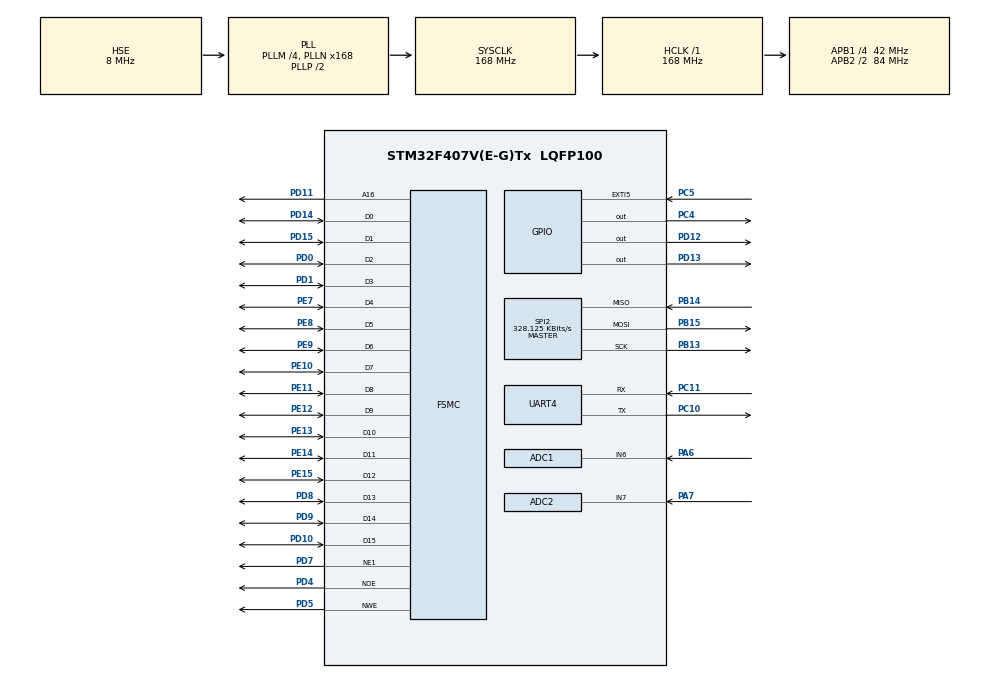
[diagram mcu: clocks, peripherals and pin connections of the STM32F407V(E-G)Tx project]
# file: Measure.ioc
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ADC1.Channel-0\#ChannelRegularConversion=ADC_CHANNEL_6
ADC1.ClockPrescaler=ADC_CLOCK_SYNC_PCLK_DIV4
ADC1.ContinuousConvMode=ENABLE
ADC1.DMAContinuousRequests=DISABLE
ADC1.DataAlign=ADC_DATAALIGN_RIGHT
ADC1.DiscontinuousConvMode=DISABLE
ADC1.EOCSelection=ADC_EOC_SINGLE_CONV
ADC1.EnableAnalogWatchDog=false
ADC1.ExternalTrigConv=ADC_SOFTWARE_START
ADC1.ExternalTrigConvEdge=ADC_EXTERNALTRIGCONVEDGE_NONE
ADC1.InjNumberOfConversion=0
ADC1.NbrOfConversion=1
ADC1.NbrOfConversionFlag=1
ADC1.Rank-0\#ChannelRegularConversion=1
ADC1.Resolution=ADC_RESOLUTION_12B
ADC1.SamplingTime-0\#ChannelRegularConversion=ADC_SAMPLETIME_3CYCLES
ADC1.ScanConvMode=DISABLE
ADC1.master=1
ADC2.Channel-0\#ChannelRegularConversion=ADC_CHANNEL_7
ADC2.ContinuousConvMode=ENABLE
ADC2.NbrOfConversionFlag=1
ADC2.Rank-0\#ChannelRegularConversion=1
ADC2.SamplingTime-0\#ChannelRegularConversion=ADC_SAMPLETIME_3CYCLES
Dma.ADC1.0.Direction=DMA_PERIPH_TO_MEMORY
Dma.ADC1.0.FIFOMode=DMA_FIFOMODE_DISABLE
Dma.ADC1.0.Instance=DMA2_Stream0
Dma.ADC1.0.MemDataAlignment=DMA_MDATAALIGN_HALFWORD
Dma.ADC1.0.MemInc=DMA_MINC_ENABLE
Dma.ADC1.0.Mode=DMA_CIRCULAR
Dma.ADC1.0.PeriphDataAlignment=DMA_PDATAALIGN_HALFWORD
Dma.ADC1.0.PeriphInc=DMA_PINC_DISABLE
Dma.ADC1.0.Priority=DMA_PRIORITY_VERY_HIGH
Dma.Request0=ADC1
FREERTOS.Tasks01=defaultTask,0,128,StartDefaultTask,Default,NULL
FSMC.AddressSetupTime1=5
FSMC.BusTurnAroundDuration1=0
FSMC.DataSetupTime1=5
Mcu.Family=STM32F4
Mcu.Name=STM32F407V(E-G)Tx
Mcu.Package=LQFP100
NVIC.ADC_IRQn=true\:5\:0\:false\:false\:true\:true\:true
NVIC.DMA2_Stream0_IRQn=true\:5\:0\:false\:false\:true\:true\:false
NVIC.EXTI9_5_IRQn=true\:5\:0\:false\:false\:true\:true\:true
NVIC.PriorityGroup=NVIC_PRIORITYGROUP_4
NVIC.TIM6_DAC_IRQn=true\:5\:0\:false\:false\:true\:true\:true
PA6.Signal=ADCx_IN6
PA7.Signal=ADCx_IN7
PB13.Mode=Full_Duplex_Master
PB13.Signal=SPI2_SCK
PB14.Mode=Full_Duplex_Master
PB14.Signal=SPI2_MISO
PB15.Mode=Full_Duplex_Master
PB15.Signal=SPI2_MOSI
PC10.Mode=Asynchronous
PC10.Signal=UART4_TX
PC11.Mode=Asynchronous
PC11.Signal=UART4_RX
PC4.GPIO_Speed=GPIO_SPEED_FREQ_HIGH
PC4.Signal=GPIO_Output
PC5.Signal=GPXTI5
PD0.Mode=16b-d1
PD0.Signal=FSMC_D2
PD1.Mode=16b-d1
PD1.Signal=FSMC_D3
PD10.Mode=16b-d1
PD10.Signal=FSMC_D15
PD11.Mode=A16_1
PD11.Signal=FSMC_A16
PD12.GPIO_Speed=GPIO_SPEED_FREQ_HIGH
PD12.Signal=GPIO_Output
PD13.GPIO_Speed=GPIO_SPEED_FREQ_HIGH
PD13.Signal=GPIO_Output
PD14.Mode=16b-d1
PD14.Signal=FSMC_D0
PD15.Mode=16b-d1
PD15.Signal=FSMC_D1
PD4.Mode=Lcd1
PD4.Signal=FSMC_NOE
PD5.Mode=Lcd1
PD5.Signal=FSMC_NWE
PD7.Mode=NorPsramChipSelect1_1
PD7.Signal=FSMC_NE1
PD8.Mode=16b-d1
PD8.Signal=FSMC_D13
PD9.Mode=16b-d1
PD9.Signal=FSMC_D14
PE10.Mode=16b-d1
PE10.Signal=FSMC_D7
PE11.Mode=16b-d1
PE11.Signal=FSMC_D8
PE12.Mode=16b-d1
PE12.Signal=FSMC_D9
PE13.Mode=16b-d1
PE13.Signal=FSMC_D10
PE14.Mode=16b-d1
PE14.Signal=FSMC_D11
PE15.Mode=16b-d1
PE15.Signal=FSMC_D12
PE7.Mode=16b-d1
PE7.Signal=FSMC_D4
PE8.Mode=16b-d1
PE8.Signal=FSMC_D5
PE9.Mode=16b-d1
PE9.Signal=FSMC_D6
PH0-OSC_IN.Mode=HSE-External-Oscillator
PH0-OSC_IN.Signal=RCC_OSC_IN
PH1-OSC_OUT.Mode=HSE-External-Oscillator
PH1-OSC_OUT.Signal=RCC_OSC_OUT
ProjectManager.HeapSize=0x200
ProjectManager.StackSize=0x400
ProjectManager.TargetToolchain=MDK-ARM V5
RCC.48MHZClocksFreq_Value=84000000
RCC.AHBFreq_Value=168000000
RCC.APB1CLKDivider=RCC_HCLK_DIV4
RCC.APB1Freq_Value=42000000
RCC.APB1TimFreq_Value=84000000
RCC.APB2CLKDivider=RCC_HCLK_DIV2
RCC.APB2Freq_Value=84000000
RCC.APB2TimFreq_Value=168000000
RCC.CortexFreq_Value=168000000
RCC.HCLKFreq_Value=168000000
RCC.HSE_VALUE=8000000
RCC.HSI_VALUE=16000000
RCC.LSE_VALUE=32768
RCC.PLLM=4
RCC.PLLN=168
RCC.PLLSourceVirtual=RCC_PLLSOURCE_HSE
RCC.SYSCLKFreq_VALUE=168000000
RCC.SYSCLKSource=RCC_SYSCLKSOURCE_PLLCLK
RCC.VCOOutputFreq_Value=336000000
SH.ADCx_IN6.0=ADC1_IN6,IN6
SH.ADCx_IN7.0=ADC2_IN7,IN7
SPI2.BaudRatePrescaler=SPI_BAUDRATEPRESCALER_128
SPI2.CalculateBaudRate=328.125 KBits/s
SPI2.Direction=SPI_DIRECTION_2LINES
SPI2.Mode=SPI_MODE_MASTER
SPI2.VirtualType=VM_MASTER
TIM6.Period=25
TIM6.Prescaler=42
UART4.VirtualMode=Asynchronous
VP_FREERTOS_VS_ENABLE.Mode=Enabled
VP_TIM6_VS_ClockSourceINT.Mode=Enable_Timer
board=Measure

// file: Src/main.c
/**
  ******************************************************************************
  * File Name          : main.c
  * Description        : Main program body
  ******************************************************************************
  * This notice applies to any and all portions of this file
  * that are not between comment pairs USER CODE BEGIN and
  * USER CODE END. Other portions of this file, whether
  * inserted by the user or by software development tools
  * are owned by their respective copyright owners.
  *
  * Copyright (c) 2017 STMicroelectronics International N.V.
  * All rights reserved.
  *
  * Redistribution and use in source and binary forms, with or without
  * modification, are permitted, provided that the following conditions are met:
  *
  * 1. Redistribution of source code must retain the above copyright notice,
  *    this list of conditions and the following disclaimer.
  * 2. Redistributions in binary form must reproduce the above copyright notice,
  *    this list of conditions and the following disclaimer in the documentation
  *    and/or other materials provided with the distribution.
  * 3. Neither the name of STMicroelectronics nor the names of other
  *    contributors to this software may be used to endorse or promote products
  *    derived from this software without specific written permission.
  * 4. This software, including modifications and/or derivative works of this
  *    software, must execute solely and exclusively on microcontroller or
  *    microprocessor devices manufactured by or for STMicroelectronics.
  * 5. Redistribution and use of this software other than as permitted under
  *    this license is void and will automatically terminate your rights under
  *    this license.
  *
  * THIS SOFTWARE IS PROVIDED BY STMICROELECTRONICS AND CONTRIBUTORS "AS IS"
  * AND ANY EXPRESS, IMPLIED OR STATUTORY WARRANTIES, INCLUDING, BUT NOT
  * LIMITED TO, THE IMPLIED WARRANTIES OF MERCHANTABILITY, FITNESS FOR A
  * PARTICULAR PURPOSE AND NON-INFRINGEMENT OF THIRD PARTY INTELLECTUAL PROPERTY
  * RIGHTS ARE DISCLAIMED TO THE FULLEST EXTENT PERMITTED BY LAW. IN NO EVENT
  * SHALL STMICROELECTRONICS OR CONTRIBUTORS BE LIABLE FOR ANY DIRECT, INDIRECT,
  * INCIDENTAL, SPECIAL, EXEMPLARY, OR CONSEQUENTIAL DAMAGES (INCLUDING, BUT NOT
  * LIMITED TO, PROCUREMENT OF SUBSTITUTE GOODS OR SERVICES; LOSS OF USE, DATA,
  * OR PROFITS; OR BUSINESS INTERRUPTION) HOWEVER CAUSED AND ON ANY THEORY OF
  * LIABILITY, WHETHER IN CONTRACT, STRICT LIABILITY, OR TORT (INCLUDING
  * NEGLIGENCE OR OTHERWISE) ARISING IN ANY WAY OUT OF THE USE OF THIS SOFTWARE,
  * EVEN IF ADVISED OF THE POSSIBILITY OF SUCH DAMAGE.
  *
  ******************************************************************************
  */

#include "main.h"
#include "includes.h"

/* USER CODE BEGIN PV */
/* Private variables ---------------------------------------------------------*/

/* USER CODE END PV */

void SystemClock_Config(void);
void MX_FREERTOS_Init(void);

/* USER CODE BEGIN PFP */
/* Private function prototypes -----------------------------------------------*/

/* USER CODE END PFP */

int main(void)
{

  /* MCU Configuration----------------------------------------------------------*/

  /* Reset of all peripherals, Initializes the Flash interface and the Systick. */
  HAL_Init();

  /* Configure the system clock */
  SystemClock_Config();

  /* Initialize all configured peripherals */
  MX_GPIO_Init();
  MX_DMA_Init();
  MX_ADC1_Init();
  MX_FSMC_Init();
  MX_SPI2_Init();
  MX_ADC2_Init();
  MX_UART4_Init();
  MX_TIM6_Init();

  /* USER CODE BEGIN 2 */

	LCD_Initializtion();
	HAL_Delay(500);

	//TouchPanel_Calibrate();

	GUI_Init();
	GUI_Clear();
  /* USER CODE END 2 */

  /* Call init function for freertos objects (in freertos.c) */
  MX_FREERTOS_Init();

  /* Start scheduler */
  osKernelStart();

  /* We should never get here as control is now taken by the scheduler */

  /* Infinite loop */
  while (1)
  {

  }

}

/** System Clock Configuration
*/
void SystemClock_Config(void)
{

  RCC_OscInitTypeDef RCC_OscInitStruct;
  RCC_ClkInitTypeDef RCC_ClkInitStruct;

    /**Configure the main internal regulator output voltage
    */
  __HAL_RCC_PWR_CLK_ENABLE();

  __HAL_PWR_VOLTAGESCALING_CONFIG(PWR_REGULATOR_VOLTAGE_SCALE1);

    /**Initializes the CPU, AHB and APB busses clocks
    */
  RCC_OscInitStruct.OscillatorType = RCC_OSCILLATORTYPE_HSE;
  RCC_OscInitStruct.HSEState = RCC_HSE_ON;
  RCC_OscInitStruct.PLL.PLLState = RCC_PLL_ON;
  RCC_OscInitStruct.PLL.PLLSource = RCC_PLLSOURCE_HSE;
  RCC_OscInitStruct.PLL.PLLM = 4;
  RCC_OscInitStruct.PLL.PLLN = 168;
  RCC_OscInitStruct.PLL.PLLP = RCC_PLLP_DIV2;
  RCC_OscInitStruct.PLL.PLLQ = 4;
  if (HAL_RCC_OscConfig(&RCC_OscInitStruct) != HAL_OK)
  {
    _Error_Handler(__FILE__, __LINE__);
  }

    /**Initializes the CPU, AHB and APB busses clocks
    */
  RCC_ClkInitStruct.ClockType = RCC_CLOCKTYPE_HCLK|RCC_CLOCKTYPE_SYSCLK
                              |RCC_CLOCKTYPE_PCLK1|RCC_CLOCKTYPE_PCLK2;
  RCC_ClkInitStruct.SYSCLKSource = RCC_SYSCLKSOURCE_PLLCLK;
  RCC_ClkInitStruct.AHBCLKDivider = RCC_SYSCLK_DIV1;
  RCC_ClkInitStruct.APB1CLKDivider = RCC_HCLK_DIV4;
  RCC_ClkInitStruct.APB2CLKDivider = RCC_HCLK_DIV2;

  if (HAL_RCC_ClockConfig(&RCC_ClkInitStruct, FLASH_LATENCY_5) != HAL_OK)
  {
    _Error_Handler(__FILE__, __LINE__);
  }

    /**Configure the Systick interrupt time
    */
  HAL_SYSTICK_Config(HAL_RCC_GetHCLKFreq()/1000);

    /**Configure the Systick
    */
  HAL_SYSTICK_CLKSourceConfig(SYSTICK_CLKSOURCE_HCLK);

  /* SysTick_IRQn interrupt configuration */
  HAL_NVIC_SetPriority(SysTick_IRQn, 15, 0);
}

void _Error_Handler(char * file, int line)
{
  while(1)
  {
  }
}

/************************ (C) COPYRIGHT STMicroelectronics *****END OF FILE****/

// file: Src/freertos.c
/**
  ******************************************************************************
  * File Name          : freertos.c
  * Description        : Code for freertos applications
  ******************************************************************************
  * This notice applies to any and all portions of this file
  * that are not between comment pairs USER CODE BEGIN and
  * USER CODE END. Other portions of this file, whether
  * inserted by the user or by software development tools
  * are owned by their respective copyright owners.
  *
  * Copyright (c) 2017 STMicroelectronics International N.V.
  * All rights reserved.
  *
  * Redistribution and use in source and binary forms, with or without
  * modification, are permitted, provided that the following conditions are met:
  *
  * 1. Redistribution of source code must retain the above copyright notice,
  *    this list of conditions and the following disclaimer.
  * 2. Redistributions in binary form must reproduce the above copyright notice,
  *    this list of conditions and the following disclaimer in the documentation
  *    and/or other materials provided with the distribution.
  * 3. Neither the name of STMicroelectronics nor the names of other
  *    contributors to this software may be used to endorse or promote products
  *    derived from this software without specific written permission.
  * 4. This software, including modifications and/or derivative works of this
  *    software, must execute solely and exclusively on microcontroller or
  *    microprocessor devices manufactured by or for STMicroelectronics.
  * 5. Redistribution and use of this software other than as permitted under
  *    this license is void and will automatically terminate your rights under
  *    this license.
  *
  * THIS SOFTWARE IS PROVIDED BY STMICROELECTRONICS AND CONTRIBUTORS "AS IS"
  * AND ANY EXPRESS, IMPLIED OR STATUTORY WARRANTIES, INCLUDING, BUT NOT
  * LIMITED TO, THE IMPLIED WARRANTIES OF MERCHANTABILITY, FITNESS FOR A
  * PARTICULAR PURPOSE AND NON-INFRINGEMENT OF THIRD PARTY INTELLECTUAL PROPERTY
  * RIGHTS ARE DISCLAIMED TO THE FULLEST EXTENT PERMITTED BY LAW. IN NO EVENT
  * SHALL STMICROELECTRONICS OR CONTRIBUTORS BE LIABLE FOR ANY DIRECT, INDIRECT,
  * INCIDENTAL, SPECIAL, EXEMPLARY, OR CONSEQUENTIAL DAMAGES (INCLUDING, BUT NOT
  * LIMITED TO, PROCUREMENT OF SUBSTITUTE GOODS OR SERVICES; LOSS OF USE, DATA,
  * OR PROFITS; OR BUSINESS INTERRUPTION) HOWEVER CAUSED AND ON ANY THEORY OF
  * LIABILITY, WHETHER IN CONTRACT, STRICT LIABILITY, OR TORT (INCLUDING
  * NEGLIGENCE OR OTHERWISE) ARISING IN ANY WAY OUT OF THE USE OF THIS SOFTWARE,
  * EVEN IF ADVISED OF THE POSSIBILITY OF SUCH DAMAGE.
  *
  ******************************************************************************
  */

#include "FreeRTOS.h"
#include "task.h"
#include "cmsis_os.h"
#include "includes.h"

osThreadId defaultTaskHandle;
osThreadId ButtonTaskHandle;
osThreadId TouchTaskHandle;
osThreadId VoltTaskHandle;
osThreadId UartTaskHandle;
/*
osMessageQDef(VoltQueue, 16, draw_param_t);
osMessageQId  VoltQueue;
*/
static const GUI_ConstString MENU_str[] = {
	"Speed",
	"Measure",
	"Channel"
};

static const GUI_ConstString speed[] = {
	"50 ms/div",	// 1
	"250 ms/div",	// 5
	"500 ms/div", 	// 10
	"2.5 s/div", 	// 50
	"5.0 s/div", 	// 100
	NULL
};
static const int delay_s[] = {
	1,
	5,
	10,
	50,
	100
};

static const char * measure_c[] ={
	"Period",
	"Freq.",
	"Mean",
	"Channel"
};

static const GUI_ConstString Channel_check_str[] = {
	"CH1",
	"CH2",
};
static const GUI_ConstString Channel_btn_str[] = {
	"UP",
	"DN"
};

int AdcSpeed = 1;
int measure_ch=0;
int measure_sel[CHECKBOX_NUMBER];
int channel_sel[ADC_CHANNEL_NUM];
int graph_base[ADC_CHANNEL_NUM] = {YSIZE, YSIZE};
float mean[ADC_CHANNEL_NUM];
float freq[ADC_CHANNEL_NUM];
float period[ADC_CHANNEL_NUM];

//char	adc_char[50]={0};
//char	touch_char[50]={0};

extern void _ExecCalibration (void);
void StartDefaultTask(void const * argument);
void StartTButtonTask(void const * argument);
void StartTouchTask(void const * argument);
void StartVoltTask(void const * argument);
void StartUartTask(void const * argument);

void MX_FREERTOS_Init(void); /* (MISRA C 2004 rule 8.1) */

/* Hook prototypes */

/* Init FreeRTOS */

void MX_FREERTOS_Init(void) {

  /* Create the thread(s) */
  /* definition and creation of defaultTask */
//  osThreadDef(defaultTask, StartDefaultTask, osPriorityNormal, 0, 128);
//  defaultTaskHandle = osThreadCreate(osThread(defaultTask), NULL);

  osThreadDef(touchTask, StartTouchTask, osPriorityHigh, 0, 256);
  TouchTaskHandle = osThreadCreate(osThread(touchTask), NULL);

  osThreadDef(buttonTask, StartTButtonTask, osPriorityAboveNormal, 0, 512);
  ButtonTaskHandle = osThreadCreate(osThread(buttonTask), NULL);

//  osThreadDef(uartTask, StartUartTask, osPriorityAboveNormal, 0, 512);
//  UartTaskHandle = osThreadCreate(osThread(uartTask), NULL);

}

/* StartDefaultTask function */
void StartDefaultTask(void const * argument)
{

  /* USER CODE BEGIN 5 */
  /* Infinite loop */
  for(;;)
  {
		osDelay(100);
	  /*
		LCD_Clear(Red);
		GUI_Text(132,104,"Open407V-C",White,Red);
		osDelay(100);

		LCD_Clear(Red);
		GUI_Text(60,120,"STM32F407V Development Board",White,Red);
		osDelay(100);
	  */
  }
  /* USER CODE END 5 */
}

void StartTouchTask(void const * argument)
{
//	uint16_t tempx=0,tempy=0;
//	uint32_t count=0;

  /* USER CODE BEGIN 5 */
  /* Infinite loop */
  for(;;)
  {
		GUI_TOUCH_Exec();
		osDelay(100);
	  /*
		getDisplayPoint(&display, Read_Ads7846(), &matrix );
	    TP_DrawPoint(display.x,display.y);
		if(tempx != display.x || tempy != display.y)
		{
			count++;
			sprintf(touch_char,"X:%3d,Y:%3d  ",tempx,tempy);
			GUI_Text(200,15,(uint8_t*)touch_char,Red,Black);
			tempx = display.x;
			tempy = display.y;
		}
		osDelay(1);
	  */

	  // if(!HAL_GPIO_ReadPin(GPIOC, GPIO_PIN_5))
	  {
	  }
  }
  /* USER CODE END 5 */
}

void StartUartTask(void const * argument)
{
	uint8_t recvBuf[100];
	int i = 0;
	/* USER CODE BEGIN 5 */
	/* Infinite loop */
	for(;;)
	{
		if(HAL_ERROR != HAL_UART_Receive(&huart4, recvBuf, 2, 1))
		{
			HAL_UART_Transmit(&huart4, recvBuf, 2, 0);
			HAL_GPIO_TogglePin(GPIOD, GPIO_PIN_12);
		}
		i++;
		if(i>10)
		{
			HAL_UART_Transmit(&huart4, "test", 4, 1);
			i=0;
		}
		osDelay(50);
	}
	/* USER CODE END 5 */
}

void StartTButtonTask(void const * argument)
{
	char temp[30];
	BUTTON_Handle   hMenuBtn[MENU_NUM];

	LISTBOX_Handle hListBox;

	RADIO_Handle hRadio;
	CHECKBOX_Handle hCheckBox[CHECKBOX_NUMBER];

	CHECKBOX_Handle hChannelCheckBox[2];
	BUTTON_Handle   hChannelBtn[2];
	int button_result;
	int speed_sel = 0;
	int led_on = 0;
	int delay = 100;
#if DEBUG_ENABLE == 1
	int pretime, curtime;
#endif
	int i;

	graph_axis_t axis = {0,6,0,5};
	GUI_HMEM hMem_ch1, hMem_ch2;
	draw_param_t draw;
	draw.axis = &axis;
	int value;

	hMem_ch1 = GUI_ALLOC_AllocZero(GRAPH_SIZE*GRAPH_STEP);
	hMem_ch2 = GUI_ALLOC_AllocZero(GRAPH_SIZE*GRAPH_STEP);
	draw.p.aY = (I16*)GUI_ALLOC_h2p(hMem_ch1);
	draw.p2.aY = (I16*)GUI_ALLOC_h2p(hMem_ch2);
	draw.p_num = 1;
	for (i=0; i < GRAPH_SIZE; i++)
	{
		*(draw.p.aY + i) = YSIZE;
		*(draw.p2.aY + i) = 0;
	}

   _ExecCalibration();

	for(i=0; i<MENU_NUM; i++)
	{
		hMenuBtn[i] = BUTTON_Create(MENU_BUTTON_LEFT,
									MENU_BUTTON_TOP + i*MENU_BUTTON_H,
									MENU_BUTTON_W,
									MENU_BUTTON_H,
									BUTTON_SPEED_ID+i,BUTTON_CF_SHOW );
		BUTTON_SetText (hMenuBtn[i], MENU_str[i]);
	}

   	hListBox = LISTBOX_Create(speed,
							SPD_LISTBOX_LEFT, SPD_LISTBOX_TOP,
							SPD_LISTBOX_W, SPD_LISTBOX_H, WM_CF_SHOW);
	LISTBOX_SetFont(hListBox, &GUI_Font13_ASCII);
	SCROLLBAR_CreateAttached(hListBox, SCROLLBAR_CF_VERTICAL);

	hRadio = RADIO_Create(CH_RADIO_LEFT, CH_RADIO_TOP,
				CH_RADIO_W, CH_RADIO_H, WM_HBKWIN,
				RADIO_CH1_ID+i, WM_CF_HIDE, ADC_CHANNEL_NUM);
	RADIO_SetBkColor(hRadio, GUI_RED);
	RADIO_SetFont(hRadio, &GUI_Font6x8);
	RADIO_SetText(hRadio, Channel_check_str[0], 0);
	RADIO_SetText(hRadio, Channel_check_str[1], 1);
	RADIO_SetValue(hRadio, 0);

	for(i=0; i<CHECKBOX_NUMBER; i++)
	{
		hCheckBox[i] = CHECKBOX_Create(MEASURE_CHECK_LEFT,
					MEASURE_CHECK_TOP + MEASURE_CHECK_H*i,
					MEASURE_CHECK_W, MEASURE_CHECK_H,
					WM_HBKWIN, CHECKBOX_PERIOD_ID+i, WM_CF_HIDE);
		CHECKBOX_SetText(hCheckBox[i], measure_c[i]);
		CHECKBOX_SetBkColor(hCheckBox[i], GUI_RED);
		CHECKBOX_SetFont(hCheckBox[i], &GUI_Font13_ASCII);
	}

	for(i=0; i<2; i++)
	{
		hChannelCheckBox[i] = CHECKBOX_Create(
								CHANNEL_CHECK_LEFT,
								CHANNEL_GAP*(i+1) + (CHANNEL_GAP+CHANNEL_CHECK_H)*i,
								CHANNEL_CHECK_W,
								CHANNEL_CHECK_H,
								WM_HBKWIN, CHANNEL_CH1_CHECK_ID+i, WM_CF_HIDE);
		CHECKBOX_SetText (hChannelCheckBox[i], Channel_check_str[i]);
		CHECKBOX_SetBkColor(hChannelCheckBox[i], GUI_RED);
		CHECKBOX_SetFont(hChannelCheckBox[i], &GUI_Font13_ASCII);
	}

	for(i=0; i<2; i++)
	{
		hChannelBtn[i] =  BUTTON_Create(
								CHANNEL_BTN_LEFT,
								CHANNEL_GAP*(i+1) + (CHANNEL_GAP+CHANNEL_CHECK_H)*i,
								CHANNEL_BTN_W,
								CHANNEL_BTN_H,
								CHANNEL_UP_BTN_ID+i,WM_CF_HIDE );
		BUTTON_SetText (hChannelBtn[i], Channel_btn_str[i]);
	}

	WM_ExecIdle();

//    VoltQueue = osMessageCreate(osMessageQ(VoltQueue), NULL);
	osThreadDef(voltTask, StartVoltTask, osPriorityHigh, 0, 512);
	VoltTaskHandle = osThreadCreate(osThread(voltTask), &draw);
//	HAL_TIM_Base_Start_IT(&htim6);

#if DEBUG_ENABLE == 1
	pretime = GUI_X_GetTime();
	curtime = GUI_X_GetTime();
#endif

	/* Infinite loop */
	for(;;)
	{
		button_result = GUI_GetKey();
		//WM_ExecIdle();
		switch(button_result)
		{
			case BUTTON_SPEED_ID:
				if(!WM_IsVisible(hListBox))
				{
					WM_HideWindow(hRadio);
					for(i=0; i<CHECKBOX_NUMBER; i++)
					{
						WM_HideWindow(hCheckBox[i]);
					}
					for(i=0; i<2; i++)
					{
						WM_HideWindow(hChannelCheckBox[i]);
					}
					for(i=0; i<2; i++)
					{
						WM_HideWindow(hChannelBtn[i]);
					}
					WM_ShowWindow(hListBox);
					GUI_SetBkColor(GUI_RED);
					GUI_ClearRect(CHILD_LEFT, CHILD_TOP, 320, 60);
				}
				break;
			case BUTTON_MEASURE_ID:
				if(!WM_IsVisible(hCheckBox[0]))
				{
					WM_HideWindow(hListBox);
					for(i=0; i<2; i++)
					{
						WM_HideWindow(hChannelBtn[i]);
					}
					for(i=0; i<2; i++)
					{
						WM_HideWindow(hChannelCheckBox[i]);
					}
					WM_ShowWindow(hRadio);
					for(i=0; i<CHECKBOX_NUMBER; i++)
					{
						WM_ShowWindow(hCheckBox[i]);
					}
					GUI_SetBkColor(GUI_RED);
					GUI_ClearRect(CHILD_LEFT, CHILD_TOP, 320, 60);
				}
				break;
			case BUTTON_CHANNEL_ID:
				if(!WM_IsVisible(hChannelBtn[0]))
				{
					WM_HideWindow(hListBox);
					WM_HideWindow(hRadio);
					for(i=0; i<CHECKBOX_NUMBER; i++)
					{
						WM_HideWindow(hCheckBox[i]);
					}
					for(i=0; i<2; i++)
					{
						WM_ShowWindow(hChannelBtn[i]);
					}
					for(i=0; i<2; i++)
					{
						WM_ShowWindow(hChannelCheckBox[i]);
					}
					GUI_SetBkColor(GUI_RED);
					GUI_ClearRect(CHILD_LEFT, CHILD_TOP, 320, 60);
				}
				if(led_on)	led_on = 0;
				else		led_on = 1;
				break;
			case CHANNEL_UP_BTN_ID:
				graph_base[measure_ch] -= GRAPH_BASE_STEP;
				if(graph_base[measure_ch] < 0)
					graph_base[measure_ch] = 0;
				Draw_CH_Base(draw.p_num, graph_base[0], graph_base[1]);
				break;
			case CHANNEL_DN_BTN_ID:
				graph_base[measure_ch] += GRAPH_BASE_STEP;
				if(graph_base[measure_ch] > YSIZE)
					graph_base[measure_ch] = YSIZE;
				Draw_CH_Base(draw.p_num, graph_base[0], graph_base[1]);
				break;
		}

		if(WM_IsVisible(hListBox))
		{
			speed_sel = LISTBOX_GetSel(hListBox);
			AdcSpeed = delay_s[speed_sel];
		}

		if(WM_IsVisible(hRadio))
		{
			measure_ch = RADIO_GetValue(hRadio);
		}
		if(WM_IsVisible(hCheckBox[0]))
		{
			for(i=0; i<CHECKBOX_NUMBER; i++)
			{
				measure_sel[i] = CHECKBOX_IsChecked(hCheckBox[i]);
			}
		}

		if(WM_IsVisible(hChannelCheckBox[0]))
		{
			for(i=0; i<2; i++)
			{
				value = CHECKBOX_IsChecked(hChannelCheckBox[i]);
				if(value != channel_sel[i])
				{
					channel_sel[i] = value;
					draw.p_num = (channel_sel[1]<<1) | (channel_sel[0]);
					Draw_CH_Base(draw.p_num, graph_base[0], graph_base[1]);
				}
			}
		}

		if(led_on)
			HAL_GPIO_TogglePin(GPIOD, GPIO_PIN_13);
		//msg = evt.value.p;
		delay = Draw_Graph(&draw);
#if	DEBUG_ENABLE == 1
		curtime = GUI_X_GetTime();
		sprintf(temp,"disp: %d", curtime-pretime);
		GUI_Text(0,0,(uint8_t*)temp,Red,Black);
#endif

		GUI_SetFont(&GUI_Font6x8);
		GUI_SetColor(GUI_WHITE);
		GUI_SetBkColor(GUI_BLACK);

		for(i=0;i<CHECKBOX_NUMBER;i++)
		{
			if(measure_sel[i])
			{
				switch(i)
				{
					case 0:
						sprintf(temp, "%s: TBD", measure_c[i]);
						break;
					case 1:
						sprintf(temp, "%s: TBD", measure_c[i]);
						break;
					case 2:
						sprintf(temp, "%s: %1.2f", measure_c[i], mean[measure_ch]);
						break;
					case 3:
						if(channel_sel[measure_ch])
							sprintf(temp, "%s: %d", measure_c[i], measure_ch+1);
						else
							sprintf(temp, "%s: X", measure_c[i]);
						break;
				}
				GUI_DispStringAt(temp, i*GRAPH_MEASURE_WIDTH, GRAPH_MEASURE_TOP);
			}
			else
			{
				GUI_ClearRect(i*GRAPH_MEASURE_WIDTH, GRAPH_MEASURE_TOP,
								(i+1)*GRAPH_MEASURE_WIDTH, GRAPH_MEASURE_TOP+8);
			}
		}
#if	DEBUG_ENABLE == 1
		pretime = GUI_X_GetTime();
#endif
		GUI_Delay(delay);
	}
}

void StartVoltTask(void const * argument)
{
#if	DEBUG_ENABLE == 1
	char temp[30];
	int pretime, curtime;
#endif
	float AD_value_ch1, AD_value_ch2;
	unsigned int ADC_ConvertedValue_pre_ch1=0, ADC_ConvertedValue_pre_ch2=0;
	volatile unsigned int ADC_ConvertedValue_ch1=0, ADC_ConvertedValue_ch2=0;

	draw_param_t * pDraw = (draw_param_t *)argument;
	I16 * pMem[ADC_CHANNEL_NUM];

#if	DEBUG_ENABLE == 1
	int sample_count = 0;
#endif
	int subs;
	int raw_data_ch1, raw_data_ch2;
	float graph_alpha = (YSIZE)/(GRAPH_Y_STEP);
	int i;
  /* USER CODE BEGIN 5 */

	//GUIDEMO_Graph();
//	Init_FFT();
	Graph_Init("VoltageMeter", (pDraw->axis));

	pMem[0] = pDraw->p.aY;
	pMem[1] = pDraw->p2.aY;

  /* Infinite loop */
	for(;;)
	{
		//HAL_ADC_Start_DMA(&hadc1, &ADC_ConvertedValue,  1);
		if(channel_sel[0])
		{
			HAL_ADC_Start(&hadc1);
			if(HAL_ADC_PollForConversion(&hadc1, 10000) == HAL_OK)
			{
				ADC_ConvertedValue_ch1 = HAL_ADC_GetValue(&hadc1);
			}
			if(ADC_ConvertedValue_ch1 != ADC_ConvertedValue_pre_ch1)
			{
				ADC_ConvertedValue_pre_ch1 = ADC_ConvertedValue_ch1;
				AD_value_ch1 = (ADC_ConvertedValue_ch1*3.3/4096);
				subs = AD_value_ch1*graph_alpha;
				raw_data_ch1 = graph_base[0] - subs;
			}
			/*
			for(i=0;i<255;i++)
			{
				Input_test[i] = Input_test[i+1];
			}
			Input_test[255] = AD_value_ch1;
			*/
			memmove(pMem[0], (I16 *)pMem[0]+1, (GRAPH_SIZE-1)*GRAPH_STEP);
			*((I16 *)pMem[0] + GRAPH_SIZE-1) = raw_data_ch1;
		}
		if(channel_sel[1])
		{
			HAL_ADC_Start(&hadc2);
			if(HAL_ADC_PollForConversion(&hadc2, 10000) == HAL_OK)
			{
				ADC_ConvertedValue_ch2 = HAL_ADC_GetValue(&hadc2);
			}
			if(ADC_ConvertedValue_ch2 != ADC_ConvertedValue_pre_ch2)
			{
				ADC_ConvertedValue_pre_ch2 = ADC_ConvertedValue_ch2;
				AD_value_ch2 = (ADC_ConvertedValue_ch2*3.3/4096);
				subs = AD_value_ch2*graph_alpha;
				raw_data_ch2 = graph_base[1] - subs;
			}
			memmove(pMem[1], (I16 *)pMem[1]+1, (GRAPH_SIZE-1)*GRAPH_STEP);
			*((I16 *)pMem[1] + GRAPH_SIZE-1) = raw_data_ch2;

//			mean[1] = Measure_FFT(pMem[0], pMem[1], 256);
		}

		if(measure_sel[2])
		{
			mean[measure_ch] = Measure_Mean(pMem[measure_ch], GRAPH_SIZE,
									graph_base[measure_ch], graph_alpha);
		}

#if	DEBUG_ENABLE == 1
		sample_count++;
		if(sample_count >= 50)
		{
			sample_count = 0;
			curtime = GUI_X_GetTime();
			sprintf(temp,"adc: %d  ", curtime-pretime);
			GUI_Text(90,0,(uint8_t*)temp,Red,Black);
			pretime = GUI_X_GetTime();
		}
#endif
		osDelay(AdcSpeed);
	}
  /* USER CODE END 5 */
}

/************************ (C) COPYRIGHT STMicroelectronics *****END OF FILE****/
